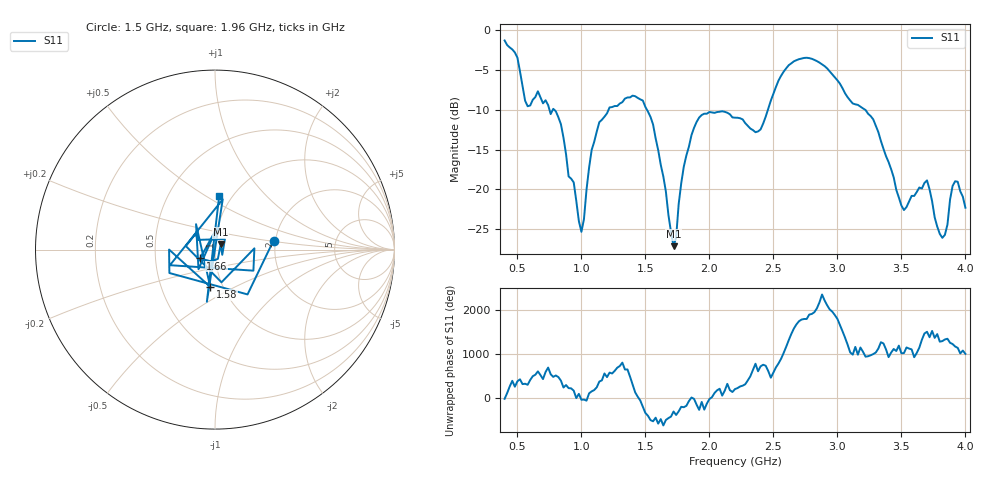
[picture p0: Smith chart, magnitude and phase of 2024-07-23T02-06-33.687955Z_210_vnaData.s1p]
!Created with skrf (http://scikit-rf.org).
# Hz S RI R 50.0
!freq ReS11 ImS11
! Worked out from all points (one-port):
!   181 points, 400 MHz to 4 GHz, reference 50 ohm
!   lowest |S11| = -27.1 dB at 1.72 GHz (marker M1), VSWR 1.09, Z = 53.2 + j3.2 ohm
!   |S11| at or under -10 dB: 789.1 MHz to 1.212 GHz (422.4 MHz wide, 42.2 % of centre); 1.513 GHz to 2.456 GHz (943.6 MHz wide, 47.5 % of centre); 3.219 GHz to end of sweep (the widest 3 of 4)
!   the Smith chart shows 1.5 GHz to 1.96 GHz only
!   S11 on the Smith chart (normalised r, x): 1.5 GHz: 1.95, +0.22; 1.58 GHz: 0.87, -0.38; 1.66 GHz: 0.84, -0.08; 1.96 GHz: 0.87, +0.57
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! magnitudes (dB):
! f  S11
! 400 MHz  -1.3
! 500 MHz  -3.4
! 580 MHz  -9.5
! 660 MHz  -7.7
! 860 MHz  -13.5
! 1 GHz  -25.3
! 1.08 GHz  -15.0
! 1.14 GHz  -11.5
! 1.3 GHz  -9.2
! 1.5 GHz  -9.6
! 1.58 GHz  -13.6
! 1.66 GHz  -20.3
! 1.72 GHz  -27.1
! 1.76 GHz  -21.8
! 1.86 GHz  -13.2
! 1.96 GHz  -10.5
! 2.2 GHz  -11.0
! 2.4 GHz  -12.5
! 2.66 GHz  -3.9
! 2.88 GHz  -4.3
! 3.1 GHz  -8.8
! 3.28 GHz  -11.2
! 3.5 GHz  -22.0
! 3.56 GHz  -21.5
! 3.7 GHz  -18.9
! 3.82 GHz  -26.1
! 3.92 GHz  -19.0
! 4 GHz  -22.3
